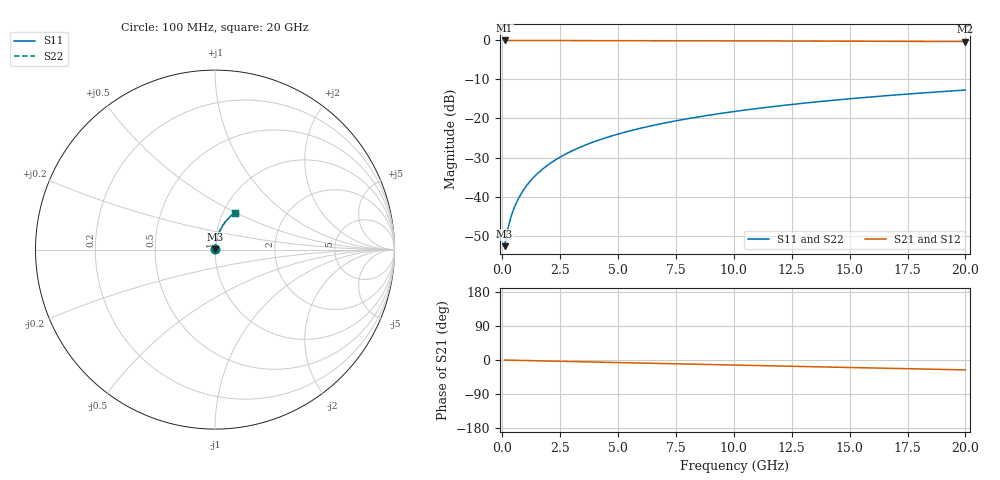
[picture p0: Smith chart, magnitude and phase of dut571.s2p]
! Touchstone file exported from HFSS 2026.1.0
!  File:  C:/ffzhzh/LocalFiles/Ansys_Project_Files/temp_train_TMRDL_571_1783008058_51716.aedt
!  Generated:  12:02:22 AM Jul  3, 2026
!  Design:  TMRDL
!  Project:  temp_train_TMRDL_571_1783008058_51716
! Variables:
!  h_bsmrdl = 2um
!  h_ox = 20um
!  h_rdl = 5um
!  h_sub = 80um
!  h_tmrdl = 3.74um
!  h_tsv = 80um
!  h_via = 3um
!  l_bsmrdl = 300um
!  l_sub = 772.01um
!  l_tmrdl = 372.01um
!  m_sub = 200um
!  pitch = 42.67um
!  r_tsv = 6um
!  s_tmrdl = 10um
!  w_bsmrdl = 18um
!  w_sub = 500um
!  w_tmrdl = 21.7um
!  x_tsv_center1 = 382.86um
!  x_tsv_center2 = 700.86um
!  x_tsv_center3 = 1094.57um
!  x_tsv_center4 = 1412.57um
!  x_tsv_center5 = 1806.28um
!  x_tsv_center6 = 2124.28um
# GHz S MA R 50.000000
! Terminal data exported
! Port[1] = TM_RDL1_1_T1
! Port[2] = TM_RDL1_1_T2
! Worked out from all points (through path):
!   200 points, 100 MHz to 20 GHz, reference 50 ohm
!   highest |S21| = -0.02 dB at 100 MHz (marker M1); lowest = -0.3 dB at 20 GHz (marker M2)
!   group delay of S21, straight-line fit = 3.62 ps
!   lowest |S11| = -52.7 dB at 100 MHz (marker M3), VSWR 1.00, Z = 50.2 + j0.143 ohm
!   |S11| at or under -10 dB: start of sweep to end of sweep
!   |S22| runs from -52.7 to -12.7 dB; largest |S21 - S12| = 2.1e-15
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0.1  0.002319 37.9  0.9982 -0.1  0.9982 -0.1  0.002319 37.9
! Gamma 0 0 0 0
! Port Impedance 50 0 50 0
0.2  0.0034 55.3  0.9981 -0.3  0.9981 -0.3  0.0034 55.3
0.3  0.004593 63.4  0.998 -0.4  0.998 -0.4  0.004593 63.4
0.4  0.005804 68.1  0.9979 -0.6  0.9979 -0.6  0.005804 68.1
0.5  0.00702 71.2  0.9978 -0.7  0.9978 -0.7  0.00702 71.2
0.6  0.008242 73.5  0.9977 -0.8  0.9977 -0.8  0.008242 73.5
0.8  0.01071 76.5  0.9977 -1.1  0.9977 -1.1  0.01071 76.5
1.1  0.01444 79.0  0.9975 -1.5  0.9975 -1.5  0.01444 79.0
1.3  0.01695 80.0  0.9974 -1.8  0.9974 -1.8  0.01695 80.0
1.6  0.02073 80.9  0.9973 -2.2  0.9973 -2.2  0.02073 80.9
2.1  0.02703 81.6  0.997 -2.9  0.997 -2.9  0.02703 81.6
2.7  0.03459 81.7  0.9966 -3.7  0.9966 -3.7  0.03459 81.7
3.5  0.04461 81.3  0.9959 -4.8  0.9959 -4.8  0.04461 81.3
4.2  0.05332 80.7  0.9952 -5.7  0.9952 -5.7  0.05332 80.7
5  0.06318 79.9  0.9943 -6.8  0.9943 -6.8  0.06318 79.9
5.9  0.07416 78.9  0.9932 -8.0  0.9932 -8.0  0.07416 78.9
6.8  0.08502 77.8  0.992 -9.2  0.992 -9.2  0.08502 77.9
8.3  0.1029 76.1  0.9897 -11.1  0.9897 -11.1  0.1029 76.1
10.1  0.1239 73.9  0.9867 -13.5  0.9867 -13.5  0.1239 73.9
13.4  0.1612 69.9  0.9804 -17.8  0.9804 -17.8  0.1612 69.9
16.7  0.1971 65.9  0.9731 -22.0  0.9731 -22.0  0.1971 65.9
20  0.2313 61.9  0.965 -26.1  0.965 -26.1  0.2313 62.0
